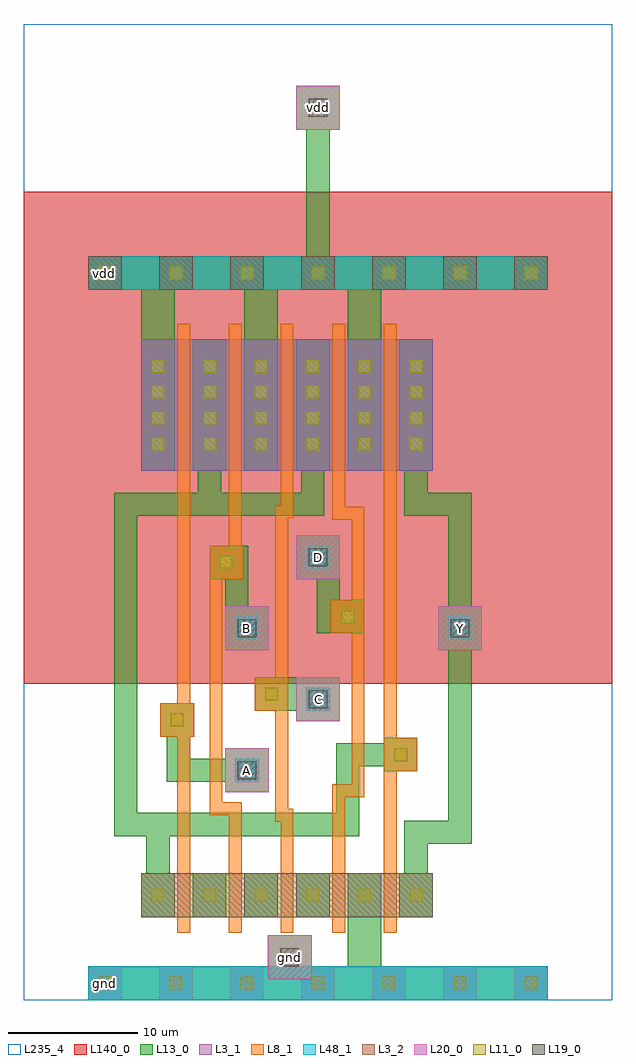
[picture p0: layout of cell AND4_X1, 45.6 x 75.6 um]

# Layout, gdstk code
import gdstk
lib = gdstk.Library(unit=1e-6, precision=1e-09)
def R(c, l, rs):  # rectangles x0, y0, x1, y1
    for r in rs: c.add(gdstk.rectangle(r[:2], r[2:], *l))
def A(c, l, x, y, w, h, nx, ny, dx, dy):  # array of equal rectangles
    R(c, l, [(x+i*dx, y+j*dy, x+i*dx+w, y+j*dy+h) for i in range(nx) for j in range(ny)])
def P(c, l, *ps):  # polygons
    for p in ps: c.add(gdstk.Polygon(p, *l))
L3_1 = (3, 1)
L3_2 = (3, 2)
L8_1 = (8, 1)
L11_0 = (11, 0)
L13_0 = (13, 0)
L19_0 = (19, 0)
L20_0 = (20, 0)
L48_1 = (48, 1)
L140_0 = (140, 0)
L235_4 = (235, 4)

and4_x1 = lib.new_cell('AND4_X1')
A(and4_x1, L3_1, 5, 0, 2.6, 2.6, 7, 1, 5.5, 0)
R(and4_x1, L3_1, [(9.1,41,31.7,51.2)])
A(and4_x1, L3_2, 5, 55, 2.6, 2.6, 7, 1, 5.5, 0)
R(and4_x1, L3_2, [(9.1,6.4,31.7,9.8)])
P(and4_x1, L8_1, [(11.9,5.2),(11.9,20.4),(10.6,20.4),(10.6,23),(11.9,23),(11.9,52.4),(12.9,52.4),(12.9,23),(13.2,23),(13.2,20.4),(12.9,20.4),(12.9,5.2)],
  [(15.9,5.2),(15.9,14.3),(14.4,14.3),(14.4,35.2),(15.9,35.2),(15.9,52.4),(16.9,52.4),(16.9,35.2),(17,35.2),(17,32.6),(15.4,32.6),(15.4,15.3),(16.9,15.3),(16.9,5.2)],
  [(19.9,5.2),(19.9,13.8),(19.5,13.8),(19.5,22.4),(17.9,22.4),(17.9,25),(19.5,25),(19.5,38.3),(19.9,38.3),(19.9,52.4),(20.9,52.4),(20.9,37.3),(20.5,37.3),(20.5,14.8),(20.9,14.8),(20.9,5.2)],
  [(23.9,5.2),(23.9,16.7),(25.4,16.7),(25.4,28.4),(23.8,28.4),(23.8,31),(25.4,31),(25.4,37.2),(23.9,37.2),(23.9,52.4),(24.9,52.4),(24.9,38.2),(26.4,38.2),(26.4,15.7),(24.9,15.7),(24.9,5.2)],
  [(27.9,5.2),(27.9,52.4),(28.9,52.4),(28.9,20.3),(30.5,20.3),(30.5,17.7),(28.9,17.7),(28.9,5.2)])
A(and4_x1, L11_0, 5.8, 0.8, 1, 1, 7, 2, 5.5, 55)
A(and4_x1, L11_0, 9.9, 42.6, 1, 1, 1, 4, 0, 2)
A(and4_x1, L11_0, 29.9, 42.6, 1, 1, 1, 4, 0, 2)
R(and4_x1, L11_0, [(9.9,7.6,10.9,8.6), (13.9,7.6,14.9,8.6), (13.9,7.6,14.9,8.6), (17.9,7.6,18.9,8.6), (17.9,7.6,18.9,8.6), (21.9,7.6,22.9,8.6), (21.9,7.6,22.9,8.6), (25.9,7.6,26.9,8.6), (25.9,7.6,26.9,8.6), (29.9,7.6,30.9,8.6), (28.7,18.5,29.7,19.5), (11.4,21.2,12.4,22.2), (18.7,23.2,19.7,24.2), (24.6,29.2,25.6,30.2), (15.2,33.4,16.2,34.4), (13.9,42.6,14.9,43.6), (13.9,42.6,14.9,43.6), (17.9,42.6,18.9,43.6), (17.9,42.6,18.9,43.6), (21.9,42.6,22.9,43.6), (21.9,42.6,22.9,43.6), (25.9,42.6,26.9,43.6), (25.9,42.6,26.9,43.6), (13.9,44.6,14.9,45.6), (13.9,44.6,14.9,45.6), (17.9,44.6,18.9,45.6), (17.9,44.6,18.9,45.6), (21.9,44.6,22.9,45.6), (21.9,44.6,22.9,45.6), (25.9,44.6,26.9,45.6), (25.9,44.6,26.9,45.6), (13.9,46.6,14.9,47.6), (13.9,46.6,14.9,47.6), (17.9,46.6,18.9,47.6), (17.9,46.6,18.9,47.6), (21.9,46.6,22.9,47.6), (21.9,46.6,22.9,47.6), (25.9,46.6,26.9,47.6), (25.9,46.6,26.9,47.6), (13.9,48.6,14.9,49.6), (13.9,48.6,14.9,49.6), (17.9,48.6,18.9,49.6), (17.9,48.6,18.9,49.6), (21.9,48.6,22.9,49.6), (21.9,48.6,22.9,49.6), (25.9,48.6,26.9,49.6), (25.9,48.6,26.9,49.6)])
A(and4_x1, L13_0, 13.1, 6.4, 2.6, 3.4, 3, 1, 4, 0)
P(and4_x1, L13_0, [(5,0),(5,2.6),(18.9,2.6),(18.9,5),(22.3,5),(22.3,2.6),(25.1,2.6),(25.1,9.8),(27.7,9.8),(27.7,2.6),(40.6,2.6),(40.6,0)],
  [(15.6,16.1),(15.6,16.9),(11.1,16.9),(11.1,20.4),(10.6,20.4),(10.6,23),(13.2,23),(13.2,20.4),(12.9,20.4),(12.9,18.7),(15.6,18.7),(15.6,19.5),(19,19.5),(19,16.1)],
  [(21.1,21.6),(21.1,22.4),(17.9,22.4),(17.9,25),(24.5,25),(24.5,21.6)],
  [(15.6,27.1),(15.6,32.6),(14.4,32.6),(14.4,35.2),(17.4,35.2),(17.4,30.5),(19,30.5),(19,27.1)],
  [(22.7,28.4),(22.7,32.6),(21.1,32.6),(21.1,36),(24.5,36),(24.5,31),(26.4,31),(26.4,28.4)],
  [(9.1,6.4),(9.1,9.8),(9.5,9.8),(9.5,12.7),(7,12.7),(7,39.3),(13.5,39.3),(13.5,41),(13.1,41),(13.1,51.2),(15.7,51.2),(15.7,41),(15.3,41),(15.3,39.3),(21.5,39.3),(21.5,41),(21.1,41),(21.1,51.2),(23.7,51.2),(23.7,41),(23.3,41),(23.3,37.5),(8.8,37.5),(8.8,14.5),(24.2,14.5),(24.2,19.9),(27.9,19.9),(27.9,20.3),(30.5,20.3),(30.5,17.7),(27.9,17.7),(27.9,18.1),(26,18.1),(26,12.7),(11.3,12.7),(11.3,9.8),(11.7,9.8),(11.7,6.4)],
  [(29.1,6.4),(29.1,9.8),(29.5,9.8),(29.5,13.9),(32.9,13.9),(32.9,27.1),(32.1,27.1),(32.1,30.5),(32.9,30.5),(32.9,37.5),(29.5,37.5),(29.5,41),(29.1,41),(29.1,51.2),(31.7,51.2),(31.7,41),(31.3,41),(31.3,39.3),(34.7,39.3),(34.7,30.5),(35.5,30.5),(35.5,27.1),(34.7,27.1),(34.7,12.1),(31.3,12.1),(31.3,9.8),(31.7,9.8),(31.7,6.4)],
  [(9.1,41),(9.1,55),(5,55),(5,57.6),(21.9,57.6),(21.9,67.4),(21.1,67.4),(21.1,70.8),(24.5,70.8),(24.5,67.4),(23.7,67.4),(23.7,57.6),(40.6,57.6),(40.6,55),(27.7,55),(27.7,41),(25.1,41),(25.1,55),(19.7,55),(19.7,41),(17.1,41),(17.1,55),(11.7,55),(11.7,41)])
R(and4_x1, L19_0, [(19.9,2.6,21.3,4), (16.6,17.1,18,18.5), (22.1,22.6,23.5,24), (16.6,28.1,18,29.5), (33.1,28.1,34.5,29.5), (22.1,33.6,23.5,35), (22.1,68.4,23.5,69.8)])
R(and4_x1, L20_0, [(18.9,1.6,22.3,5), (15.6,16.1,19,19.5), (21.1,21.6,24.5,25), (15.6,27.1,19,30.5), (32.1,27.1,35.5,30.5), (21.1,32.6,24.5,36), (21.1,67.4,24.5,70.8)])
R(and4_x1, L48_1, [(5,0,40.6,2.6), (16.4,16.9,18.2,18.7), (21.9,22.4,23.7,24.2), (16.4,27.9,18.2,29.7), (32.9,27.9,34.7,29.7), (21.9,33.4,23.7,35.2), (5,55,40.6,57.6)])
R(and4_x1, L140_0, [(0,24.5,45.6,62.6)])
R(and4_x1, L235_4, [(0,0,45.6,75.6)])
and4_x1.add(gdstk.Label('vdd', (6.3,56.3), layer=48, texttype=0))
and4_x1.add(gdstk.Label('gnd', (6.3,1.3), layer=48, texttype=0))
and4_x1.add(gdstk.Label('Y', (33.8,28.8), layer=48, texttype=0))
and4_x1.add(gdstk.Label('A', (17.3,17.8), layer=48, texttype=0))
and4_x1.add(gdstk.Label('B', (17.3,28.8), layer=48, texttype=0))
and4_x1.add(gdstk.Label('C', (22.8,23.3), layer=48, texttype=0))
and4_x1.add(gdstk.Label('D', (22.8,34.3), layer=48, texttype=0))
and4_x1.add(gdstk.Label('A', (17.3,17.8), layer=49, texttype=0))
and4_x1.add(gdstk.Label('B', (17.3,28.8), layer=49, texttype=0))
and4_x1.add(gdstk.Label('C', (22.8,23.3), layer=49, texttype=0))
and4_x1.add(gdstk.Label('D', (22.8,34.3), layer=49, texttype=0))
and4_x1.add(gdstk.Label('Y', (33.8,28.8), layer=49, texttype=0))
and4_x1.add(gdstk.Label('vdd', (22.8,69.1), layer=49, texttype=0))
and4_x1.add(gdstk.Label('gnd', (20.6,3.3), layer=49, texttype=0))

lib.write_gds('AND4_X1.gds')
